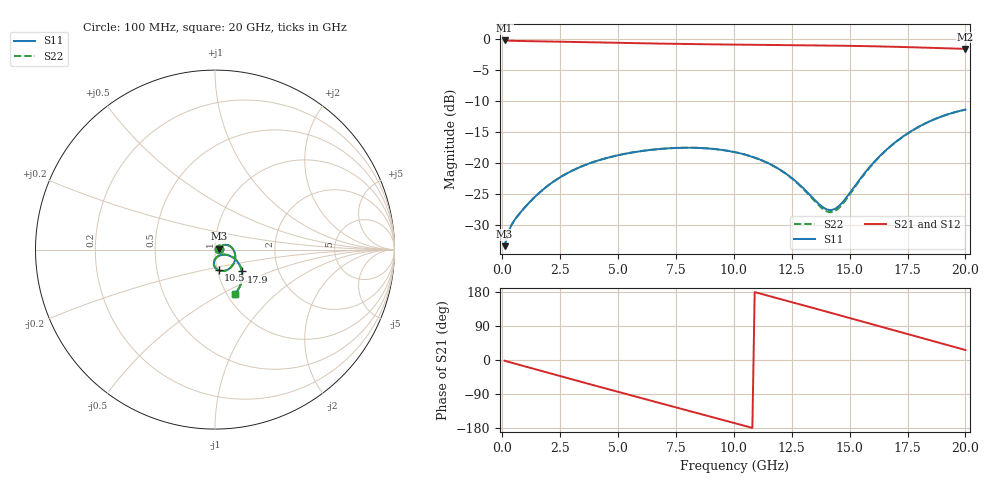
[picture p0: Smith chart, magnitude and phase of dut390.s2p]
! Touchstone file exported from HFSS 2026.1.0
!  File:  C:/ffzhzh/LocalFiles/Ansys_Project_Files/temp_train_TSV_RDL_390_1783090703_46604.aedt
!  Generated:  11:07:05 PM Jul  3, 2026
!  Design:  TSV_RDL
!  Project:  temp_train_TSV_RDL_390_1783090703_46604
! Variables:
!  h_bsmrdl = 5.03um
!  h_ox = 20um
!  h_rdl = 5um
!  h_sub = 88.8um
!  h_tmrdl = 4.71um
!  h_tsv = 88.8um
!  h_via = 3um
!  l_bsmrdl = 477.16um
!  l_sub = 5225.5um
!  l_tmrdl = 818.73um
!  m_sub = 200um
!  pitch = 32.35um
!  r_tsv = 9.35um
!  s_tmrdl = 10um
!  w_bsmrdl = 10.9um
!  w_sub = 500um
!  w_tmrdl = 28.8um
!  x_tsv_center1 = 833.13um
!  x_tsv_center2 = 1321.19um
!  x_tsv_center3 = 2168.72um
!  x_tsv_center4 = 2656.78um
!  x_tsv_center5 = 3504.31um
!  x_tsv_center6 = 3992.37um
# GHz S MA R 50.000000
! Terminal data exported
! Port[1] = TM_RDL1_1_T1
! Port[2] = TM_RDL5_1_T1
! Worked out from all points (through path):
!   200 points, 100 MHz to 20 GHz, reference 50 ohm
!   highest |S21| = -0.18 dB at 100 MHz (marker M1); lowest = -1.5 dB at 20 GHz (marker M2)
!   group delay of S21, straight-line fit = 46.1 ps
!   lowest |S11| = -33.5 dB at 100 MHz (marker M3), VSWR 1.04, Z = 52.1 + j0.594 ohm
!   |S11| at or under -10 dB: start of sweep to end of sweep
!   |S22| runs from -33.5 to -11.4 dB; largest |S21 - S12| = 1.6e-14
!   S11 on the Smith chart (normalised r, x): 100 MHz: 1.04, +0.01; 10.5 GHz: 1.01, -0.24; 17.9 GHz: 1.30, -0.33; 20 GHz: 1.08, -0.58
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0.1  0.0212 15.6  0.9798 -1.9  0.9798 -1.9  0.0212 15.6
! Gamma 0 0 0 0
! Port Impedance 50 0 50 0
0.4  0.0315 25.7  0.9735 -7.1  0.9735 -7.1  0.0315 25.7
1.2  0.04852 28.6  0.9673 -20.7  0.9673 -20.7  0.04852 28.6
2.3  0.0725 20.8  0.9592 -39.2  0.9592 -39.2  0.07251 20.8
3.5  0.09494 5.9  0.9492 -59.2  0.9492 -59.2  0.09497 5.9
4.3  0.1069 -4.7  0.9425 -72.5  0.9425 -72.5  0.1069 -4.7
5.1  0.1165 -15.2  0.9362 -85.7  0.9362 -85.7  0.1165 -15.2
5.9  0.1239 -25.5  0.9302 -98.8  0.9302 -98.8  0.124 -25.6
6.8  0.1297 -36.9  0.9241 -113.6  0.9241 -113.6  0.1298 -37.0
8.5  0.1322 -57.6  0.9141 -141.4  0.9141 -141.4  0.1323 -57.8
9.3  0.1287 -66.9  0.91 -154.5  0.91 -154.5  0.1288 -67.2
10.1  0.1216 -75.9  0.9064 -167.7  0.9064 -167.7  0.1216 -76.3
10.5  0.1165 -80.2  0.9048 -174.2  0.9048 -174.2  0.1165 -80.6
11.9  0.09041 -92.3  0.8996 162.7  0.8996 162.7  0.09014 -93.1
13.4  0.0523 -87.9  0.8941 137.7  0.8941 137.7  0.05129 -89.1
14  0.04218 -69.0  0.8915 127.7  0.8915 127.7  0.04067 -69.8
14.4  0.04283 -50.8  0.8896 121.0  0.8896 121.0  0.04118 -50.5
15.6  0.08056 -23.4  0.8823 100.7  0.8823 100.7  0.07954 -22.4
16.7  0.1333 -26.9  0.8732 82.0  0.8732 82.0  0.1327 -26.2
17.9  0.1922 -39.2  0.8608 61.7  0.8608 61.7  0.1918 -38.7
19  0.2389 -53.0  0.8483 43.1  0.8483 43.1  0.2387 -52.7
20  0.2701 -66.2  0.8378 26.3  0.8378 26.3  0.27 -66.0
